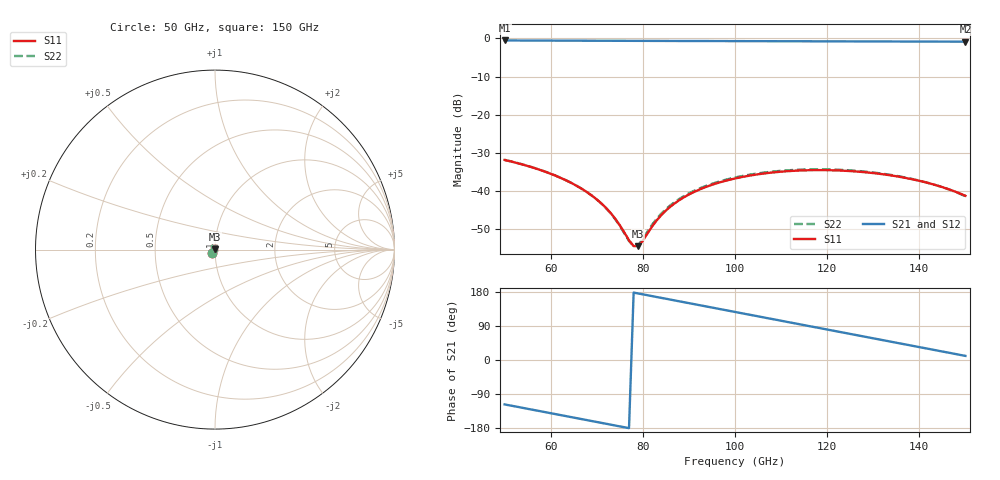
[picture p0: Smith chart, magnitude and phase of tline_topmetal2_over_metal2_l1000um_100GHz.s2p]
#  GHZ S DB R 50
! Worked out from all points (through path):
!   101 points, 50 GHz to 150 GHz, reference 50 ohm
!   highest |S21| = -0.54 dB at 50 GHz (marker M1); lowest = -0.9 dB at 150 GHz (marker M2)
!   group delay of S21, straight-line fit = 6.44 ps
!   lowest |S11| = -54.5 dB at 79 GHz (marker M3), VSWR 1.00, Z = 50.1 + j0.154 ohm
!   |S11| at or under -10 dB: start of sweep to end of sweep
!   |S22| runs from -54.5 to -31.9 dB; largest |S21 - S12| = 1.6e-13
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50  -31.90 -126.7  -0.54 -117.2  -0.54 -117.2  -31.86 -126.7
60  -35.52 -156.5  -0.58 -140.4  -0.58 -140.4  -35.48 -156.5
67  -39.66 -179.6  -0.61 -156.6  -0.61 -156.6  -39.65 -179.6
70  -42.25 168.5  -0.62 -163.6  -0.62 -163.6  -42.27 168.5
73  -45.79 153.1  -0.63 -170.5  -0.63 -170.5  -45.88 152.7
75  -49.02 137.3  -0.63 -175.2  -0.63 -175.2  -49.19 136.3
77  -52.98 108.1  -0.64 -179.8  -0.64 -179.8  -53.16 105.3
78  -54.49 83.6  -0.64 177.9  -0.64 177.9  -54.48 79.6
79  -54.51 55.0  -0.65 175.5  -0.65 175.5  -54.22 51.1
80  -53.09 30.7  -0.65 173.2  -0.65 173.2  -52.63 28.0
82  -49.36 1.9  -0.66 168.6  -0.66 168.6  -48.91 0.9
84  -46.37 -13.7  -0.66 164.0  -0.66 164.0  -45.98 -14.1
87  -43.19 -29.1  -0.67 157.0  -0.67 157.0  -42.86 -29.1
91  -40.35 -44.5  -0.68 147.7  -0.68 147.7  -40.07 -44.3
95  -38.42 -57.8  -0.70 138.4  -0.70 138.4  -38.15 -57.4
100  -36.75 -73.2  -0.71 126.8  -0.71 126.8  -36.50 -72.8
109  -35.08 -99.7  -0.74 106.0  -0.74 106.0  -34.85 -99.1
117  -34.57 -122.8  -0.76 87.4  -0.76 87.4  -34.36 -122.1
125  -34.81 -146.0  -0.78 68.8  -0.78 68.8  -34.63 -145.2
134  -35.98 -172.7  -0.81 48.0  -0.81 48.0  -35.85 -171.9
142  -37.97 162.2  -0.83 29.4  -0.83 29.4  -37.94 162.6
150  -41.30 133.2  -0.85 10.8  -0.85 10.8  -41.41 132.6
